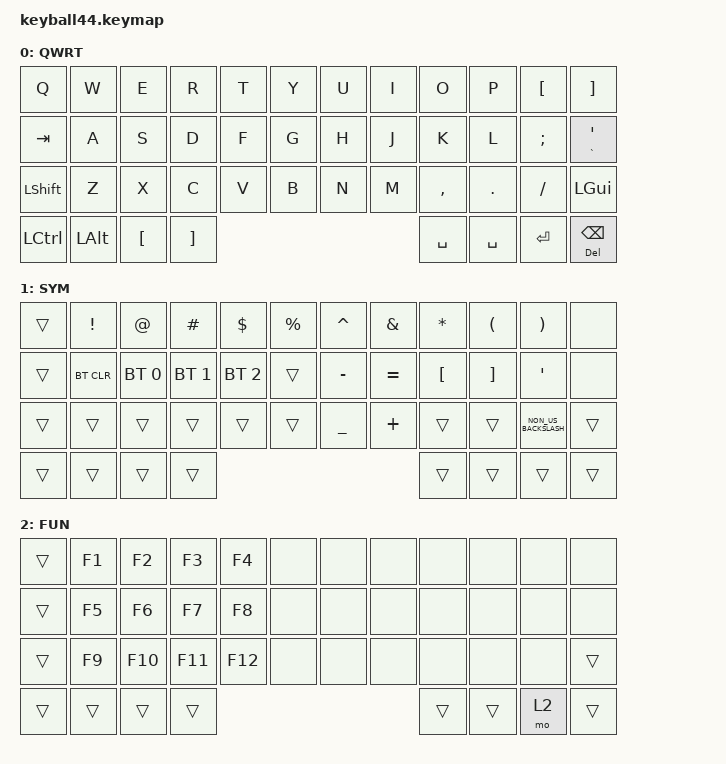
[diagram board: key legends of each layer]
#define DEFAULT 0
#define NUM     1
#define SYM     2
#define FUN     3
#define MOUSE   4
#define SCROLL  5
#define SNIPE   6

#define VOL_UP 0x80
#define VOL_DOWN 0x81
#define C_NEXT 0xB5
#define C_PREV 0xB6

#include <behaviors/mouse_keys.dtsi>
#include <dt-bindings/zmk/mouse.h>
#include <behaviors.dtsi>
#include <dt-bindings/zmk/bt.h>
#include <dt-bindings/zmk/keys.h>

&lt {
    tapping-term-ms = <240>;
    flavor = "balanced";
    quick-tap-ms = <150>;
};

&mt {
    tapping-term-ms = <200>;
    flavor = "tap-preferred";
    quick-tap-ms = <150>;
};

&caps_word { continue-list = <UNDERSCORE MINUS>; };

/ {
    behaviors {
        trackball_up: trackball_up {
            compatible = "zmk,behavior-sensor-key-press";
            label = "TRACKBALL_UP";
            #binding-cells = <0>;
            bindings = <&kp UP>;
        };

        trackball_down: trackball_down {
            compatible = "zmk,behavior-sensor-key-press";
            label = "TRACKBALL_DOWN";
            #binding-cells = <0>;
            bindings = <&kp DOWN>;
        };

        trackball_left: trackball_left {
            compatible = "zmk,behavior-sensor-key-press";
            label = "TRACKBALL_LEFT";
            #binding-cells = <0>;
            bindings = <&kp LEFT>;
        };

        trackball_right: trackball_right {
            compatible = "zmk,behavior-sensor-key-press";
            label = "TRACKBALL_RIGHT";
            #binding-cells = <0>;
            bindings = <&kp RIGHT>;
        };

        media_volume_up: media_volume_up {
            compatible = "zmk,behavior-media-key";
            label = "MEDIA_VOLUME_UP";
            key-code = <VOL_UP>;
            #binding-cells = <0>;
        };

        media_volume_down: media_volume_down {
            compatible = "zmk,behavior-media-key";
            label = "MEDIA_VOLUME_DOWN";
            key-code = <VOL_DOWN>;
            #binding-cells = <0>;
        };

        media_next_track: media_next_track {
            compatible = "zmk,behavior-media-key";
            label = "MEDIA_NEXT_TRACK";
            key-code = <C_NEXT>;
            #binding-cells = <0>;
        };

        media_prev_track: media_prev_track {
            compatible = "zmk,behavior-media-key";
            label = "MEDIA_PREV_TRACK";
            key-code = <C_PREV>;
            #binding-cells = <0>;
        };

        trackball_ctrl_up: trackball_ctrl_up {
            compatible = "zmk,behavior-mod-morph";
            label = "TRACKBALL_CTRL_UP";
            #binding-cells = <2>;
            bindings = <&media_volume_up &kp UP>;
            mods = <LEFT_CONTROL>;
        };

        trackball_ctrl_down: trackball_ctrl_down {
            compatible = "zmk,behavior-mod-morph";
            label = "TRACKBALL_CTRL_DOWN";
            #binding-cells = <2>;
            bindings = <&media_volume_down &kp DOWN>;
            mods = <LEFT_CONTROL>;
        };

        trackball_ctrl_left: trackball_ctrl_left {
            compatible = "zmk,behavior-mod-morph";
            label = "TRACKBALL_CTRL_LEFT";
            #binding-cells = <2>;
            bindings = <&media_prev_track &kp LEFT>;
            mods = <LEFT_CONTROL>;
        };

        trackball_ctrl_right: trackball_ctrl_right {
            compatible = "zmk,behavior-mod-morph";
            label = "TRACKBALL_CTRL_RIGHT";
            #binding-cells = <2>;
            bindings = <&media_next_track &kp RIGHT>;
            mods = <LEFT_CONTROL>;
        };

        cmqus: comma_question {
            compatible = "zmk,behavior-mod-morph";
            label = "COMMA_QUESTION";
            #binding-cells = <2>;
            bindings = <&kp COMMA &kp QUESTION>;
            mods = <LEFT_SHIFT>;
        };

        dtsmi: dot_semi {
            compatible = "zmk,behavior-mod-morph";
            label = "DOT_SEMI";
            #binding-cells = <2>;
            bindings = <&kp DOT &kp SEMI>;
            mods = <LEFT_SHIFT>;
        };
    };

    keymap {
        compatible = "zmk,keymap";

        default_layer {
            label = "QWRT";
            bindings = <
&kp Q            &kp W           &kp E             &kp R              &kp T           &kp Y                    &kp U           &kp I     &kp O      &kp P     &kp LEFT_BRACKET &kp RIGHT_BRACKET
&kp TAB          &kp A           &kp S             &kp D              &kp F           &kp G                    &kp H           &kp J     &kp K      &kp L     &kp SEMI          &mt GRAVE SQT
&kp LEFT_SHIFT   &kp Z           &kp X             &kp C              &kp V           &kp B                    &kp N           &kp M     &kp COMMA  &kp DOT   &kp SLASH         &kp LEFT_GUI
&kp LEFT_CONTROL &kp LALT        &kp LEFT_BRACKET  &kp RIGHT_BRACKET  &kp SPACE                     &kp SPACE  &kp ENTER                                                 &mt DEL BACKSPACE
            >;
        };

        symbol_layer {
            label = "SYM";
            bindings = <
&trans  &kp EXCLAMATION  &kp AT_SIGN   &kp HASH      &kp DOLLAR    &kp PERCENT              &kp CARET       &kp AMPERSAND  &kp ASTERISK      &kp LEFT_PARENTHESIS  &kp RIGHT_PARENTHESIS  &none
&trans  &bt BT_CLR       &bt BT_SEL 0  &bt BT_SEL 1  &bt BT_SEL 2  &trans                   &kp MINUS       &kp EQUAL      &kp LEFT_BRACKET  &kp RIGHT_BRACKET     &kp SQT                &none
&trans  &trans           &trans        &trans        &trans        &trans                   &kp UNDERSCORE  &kp PLUS       &trans            &trans                &kp NON_US_BACKSLASH   &trans
&trans  &trans           &trans        &trans        &trans                         &trans  &trans                                                                                        &trans
            >;
        };

        function_layer {
            label = "FUN";
            bindings = <
&trans  &kp F1  &kp F2   &kp F3   &kp F4   &none              &none  &none  &none  &none  &none  &none
&trans  &kp F5  &kp F6   &kp F7   &kp F8   &none              &none  &none  &none  &none  &none  &none
&trans  &kp F9  &kp F10  &kp F11  &kp F12  &none              &none  &none  &none  &none  &none  &trans
&trans  &trans  &trans   &trans   &trans              &trans  &mo 2                              &trans
            >;
        };
    };
};
